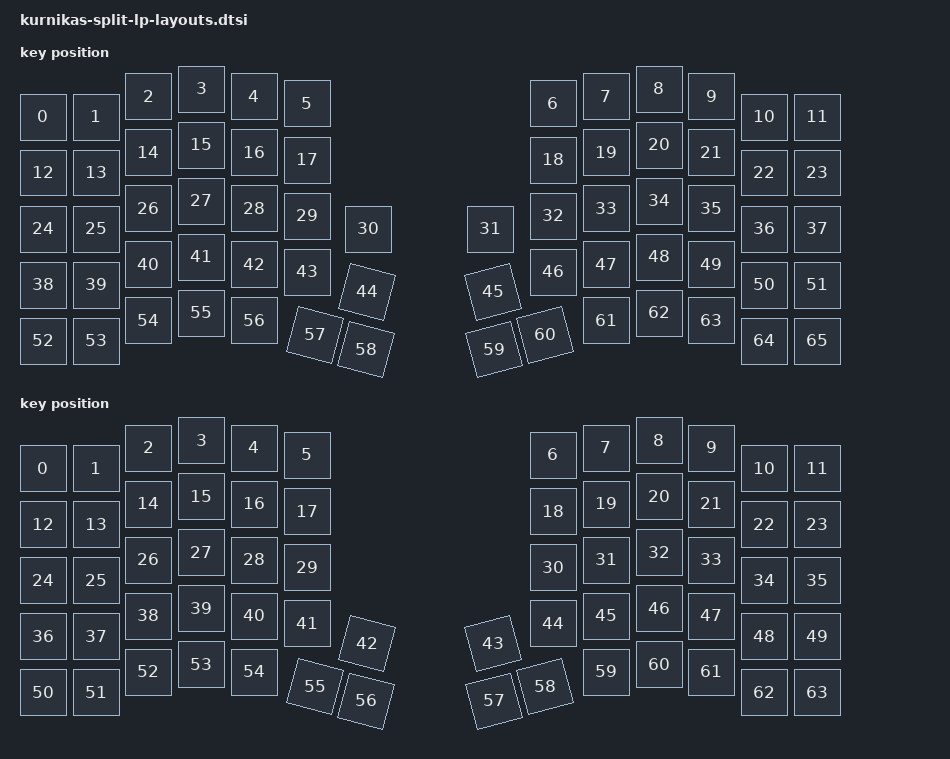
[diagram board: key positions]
#include <physical_layouts.dtsi>

/ {
    ec11_layout: physical_layout_0 {
        compatible = "zmk,physical-layout";
        display-name = "With EC11 encoder";

        transform = <&default_transform>;

        keys  //                     w   h    x    y     rot    rx    ry
            = <&key_physical_attrs 100 100    0   56       0     0     0>
            , <&key_physical_attrs 100 100  106   56       0     0     0>
            , <&key_physical_attrs 100 100  211   15       0     0     0>
            , <&key_physical_attrs 100 100  317    0       0     0     0>
            , <&key_physical_attrs 100 100  422   15       0     0     0>
            , <&key_physical_attrs 100 100  528   29       0     0     0>
            , <&key_physical_attrs 100 100 1020   29       0     0     0>
            , <&key_physical_attrs 100 100 1126   15       0     0     0>
            , <&key_physical_attrs 100 100 1232    0       0     0     0>
            , <&key_physical_attrs 100 100 1337   15       0     0     0>
            , <&key_physical_attrs 100 100 1443   56       0     0     0>
            , <&key_physical_attrs 100 100 1548   56       0     0     0>
            , <&key_physical_attrs 100 100    0  168       0     0     0>
            , <&key_physical_attrs 100 100  106  168       0     0     0>
            , <&key_physical_attrs 100 100  211  127       0     0     0>
            , <&key_physical_attrs 100 100  317  112       0     0     0>
            , <&key_physical_attrs 100 100  422  127       0     0     0>
            , <&key_physical_attrs 100 100  528  142       0     0     0>
            , <&key_physical_attrs 100 100 1020  142       0     0     0>
            , <&key_physical_attrs 100 100 1126  127       0     0     0>
            , <&key_physical_attrs 100 100 1232  112       0     0     0>
            , <&key_physical_attrs 100 100 1337  127       0     0     0>
            , <&key_physical_attrs 100 100 1443  168       0     0     0>
            , <&key_physical_attrs 100 100 1548  168       0     0     0>
            , <&key_physical_attrs 100 100    0  280       0     0     0>
            , <&key_physical_attrs 100 100  106  280       0     0     0>
            , <&key_physical_attrs 100 100  211  239       0     0     0>
            , <&key_physical_attrs 100 100  317  224       0     0     0>
            , <&key_physical_attrs 100 100  422  239       0     0     0>
            , <&key_physical_attrs 100 100  528  254       0     0     0>
            , <&key_physical_attrs 100 100  650  280       0     0     0>
            , <&key_physical_attrs 100 100  895  280       0     0     0>
            , <&key_physical_attrs 100 100 1020  254       0     0     0>
            , <&key_physical_attrs 100 100 1126  239       0     0     0>
            , <&key_physical_attrs 100 100 1232  224       0     0     0>
            , <&key_physical_attrs 100 100 1337  239       0     0     0>
            , <&key_physical_attrs 100 100 1443  280       0     0     0>
            , <&key_physical_attrs 100 100 1548  280       0     0     0>
            , <&key_physical_attrs 100 100    0  392       0     0     0>
            , <&key_physical_attrs 100 100  106  392       0     0     0>
            , <&key_physical_attrs 100 100  211  351       0     0     0>
            , <&key_physical_attrs 100 100  317  336       0     0     0>
            , <&key_physical_attrs 100 100  422  351       0     0     0>
            , <&key_physical_attrs 100 100  528  366       0     0     0>
            , <&key_physical_attrs 100 100  648  406    1500   698   456>
            , <&key_physical_attrs 100 100  900  406 (-1500)   950   456>
            , <&key_physical_attrs 100 100 1020  366       0     0     0>
            , <&key_physical_attrs 100 100 1126  351       0     0     0>
            , <&key_physical_attrs 100 100 1232  336       0     0     0>
            , <&key_physical_attrs 100 100 1337  351       0     0     0>
            , <&key_physical_attrs 100 100 1443  392       0     0     0>
            , <&key_physical_attrs 100 100 1548  392       0     0     0>
            , <&key_physical_attrs 100 100    0  504       0     0     0>
            , <&key_physical_attrs 100 100  106  504       0     0     0>
            , <&key_physical_attrs 100 100  211  463       0     0     0>
            , <&key_physical_attrs 100 100  317  448       0     0     0>
            , <&key_physical_attrs 100 100  422  463       0     0     0>
            , <&key_physical_attrs 100 100  544  492    1500   594   542>
            , <&key_physical_attrs 100 100  646  521    1500   696   571>
            , <&key_physical_attrs 100 100  902  521 (-1500)   952   571>
            , <&key_physical_attrs 100 100 1004  492 (-1500)  1054   542>
            , <&key_physical_attrs 100 100 1126  463       0     0     0>
            , <&key_physical_attrs 100 100 1232  448       0     0     0>
            , <&key_physical_attrs 100 100 1337  463       0     0     0>
            , <&key_physical_attrs 100 100 1443  504       0     0     0>
            , <&key_physical_attrs 100 100 1548  504       0     0     0>
            ;
    };
    ec12_layout: physical_layout_1 {
        compatible = "zmk,physical-layout";
        display-name = "With EC12 encoder";

        transform = <&default_transform>;

        keys  //                     w   h    x    y     rot    rx    ry
            = <&key_physical_attrs 100 100    0   56       0     0     0>
            , <&key_physical_attrs 100 100  106   56       0     0     0>
            , <&key_physical_attrs 100 100  211   15       0     0     0>
            , <&key_physical_attrs 100 100  317    0       0     0     0>
            , <&key_physical_attrs 100 100  422   15       0     0     0>
            , <&key_physical_attrs 100 100  528   29       0     0     0>
            , <&key_physical_attrs 100 100 1020   29       0     0     0>
            , <&key_physical_attrs 100 100 1126   15       0     0     0>
            , <&key_physical_attrs 100 100 1232    0       0     0     0>
            , <&key_physical_attrs 100 100 1337   15       0     0     0>
            , <&key_physical_attrs 100 100 1443   56       0     0     0>
            , <&key_physical_attrs 100 100 1548   56       0     0     0>
            , <&key_physical_attrs 100 100    0  168       0     0     0>
            , <&key_physical_attrs 100 100  106  168       0     0     0>
            , <&key_physical_attrs 100 100  211  127       0     0     0>
            , <&key_physical_attrs 100 100  317  112       0     0     0>
            , <&key_physical_attrs 100 100  422  127       0     0     0>
            , <&key_physical_attrs 100 100  528  142       0     0     0>
            , <&key_physical_attrs 100 100 1020  142       0     0     0>
            , <&key_physical_attrs 100 100 1126  127       0     0     0>
            , <&key_physical_attrs 100 100 1232  112       0     0     0>
            , <&key_physical_attrs 100 100 1337  127       0     0     0>
            , <&key_physical_attrs 100 100 1443  168       0     0     0>
            , <&key_physical_attrs 100 100 1548  168       0     0     0>
            , <&key_physical_attrs 100 100    0  280       0     0     0>
            , <&key_physical_attrs 100 100  106  280       0     0     0>
            , <&key_physical_attrs 100 100  211  239       0     0     0>
            , <&key_physical_attrs 100 100  317  224       0     0     0>
            , <&key_physical_attrs 100 100  422  239       0     0     0>
            , <&key_physical_attrs 100 100  528  254       0     0     0>
            , <&key_physical_attrs 100 100 1020  254       0     0     0>
            , <&key_physical_attrs 100 100 1126  239       0     0     0>
            , <&key_physical_attrs 100 100 1232  224       0     0     0>
            , <&key_physical_attrs 100 100 1337  239       0     0     0>
            , <&key_physical_attrs 100 100 1443  280       0     0     0>
            , <&key_physical_attrs 100 100 1548  280       0     0     0>
            , <&key_physical_attrs 100 100    0  392       0     0     0>
            , <&key_physical_attrs 100 100  106  392       0     0     0>
            , <&key_physical_attrs 100 100  211  351       0     0     0>
            , <&key_physical_attrs 100 100  317  336       0     0     0>
            , <&key_physical_attrs 100 100  422  351       0     0     0>
            , <&key_physical_attrs 100 100  528  366       0     0     0>
            , <&key_physical_attrs 100 100  648  406    1500   698   456>
            , <&key_physical_attrs 100 100  900  406 (-1500)   950   456>
            , <&key_physical_attrs 100 100 1020  366       0     0     0>
            , <&key_physical_attrs 100 100 1126  351       0     0     0>
            , <&key_physical_attrs 100 100 1232  336       0     0     0>
            , <&key_physical_attrs 100 100 1337  351       0     0     0>
            , <&key_physical_attrs 100 100 1443  392       0     0     0>
            , <&key_physical_attrs 100 100 1548  392       0     0     0>
            , <&key_physical_attrs 100 100    0  504       0     0     0>
            , <&key_physical_attrs 100 100  106  504       0     0     0>
            , <&key_physical_attrs 100 100  211  463       0     0     0>
            , <&key_physical_attrs 100 100  317  448       0     0     0>
            , <&key_physical_attrs 100 100  422  463       0     0     0>
            , <&key_physical_attrs 100 100  544  492    1500   594   542>
            , <&key_physical_attrs 100 100  646  521    1500   696   571>
            , <&key_physical_attrs 100 100  902  521 (-1500)   952   571>
            , <&key_physical_attrs 100 100 1004  492 (-1500)  1054   542>
            , <&key_physical_attrs 100 100 1126  463       0     0     0>
            , <&key_physical_attrs 100 100 1232  448       0     0     0>
            , <&key_physical_attrs 100 100 1337  463       0     0     0>
            , <&key_physical_attrs 100 100 1443  504       0     0     0>
            , <&key_physical_attrs 100 100 1548  504       0     0     0>
            ;
    };
};

